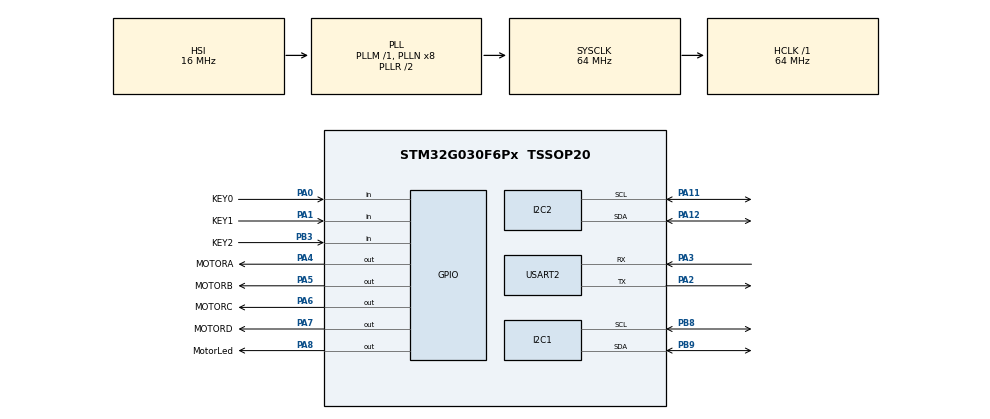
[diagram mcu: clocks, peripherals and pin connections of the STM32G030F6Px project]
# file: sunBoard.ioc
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Dma.Request0=USART2_TX
Dma.Request1=USART2_RX
Dma.USART2_RX.1.Direction=DMA_PERIPH_TO_MEMORY
Dma.USART2_RX.1.EventEnable=DISABLE
Dma.USART2_RX.1.Instance=DMA1_Channel2
Dma.USART2_RX.1.MemDataAlignment=DMA_MDATAALIGN_BYTE
Dma.USART2_RX.1.MemInc=DMA_MINC_ENABLE
Dma.USART2_RX.1.Mode=DMA_NORMAL
Dma.USART2_RX.1.PeriphDataAlignment=DMA_PDATAALIGN_BYTE
Dma.USART2_RX.1.PeriphInc=DMA_PINC_DISABLE
Dma.USART2_RX.1.Polarity=HAL_DMAMUX_REQ_GEN_RISING
Dma.USART2_RX.1.Priority=DMA_PRIORITY_MEDIUM
Dma.USART2_RX.1.RequestNumber=1
Dma.USART2_RX.1.SignalID=NONE
Dma.USART2_RX.1.SyncEnable=DISABLE
Dma.USART2_RX.1.SyncPolarity=HAL_DMAMUX_SYNC_NO_EVENT
Dma.USART2_RX.1.SyncRequestNumber=1
Dma.USART2_RX.1.SyncSignalID=NONE
Dma.USART2_TX.0.Direction=DMA_MEMORY_TO_PERIPH
Dma.USART2_TX.0.EventEnable=DISABLE
Dma.USART2_TX.0.Instance=DMA1_Channel1
Dma.USART2_TX.0.MemDataAlignment=DMA_MDATAALIGN_BYTE
Dma.USART2_TX.0.MemInc=DMA_MINC_ENABLE
Dma.USART2_TX.0.Mode=DMA_NORMAL
Dma.USART2_TX.0.PeriphDataAlignment=DMA_PDATAALIGN_BYTE
Dma.USART2_TX.0.PeriphInc=DMA_PINC_DISABLE
Dma.USART2_TX.0.Polarity=HAL_DMAMUX_REQ_GEN_RISING
Dma.USART2_TX.0.Priority=DMA_PRIORITY_MEDIUM
Dma.USART2_TX.0.RequestNumber=1
Dma.USART2_TX.0.SignalID=NONE
Dma.USART2_TX.0.SyncEnable=DISABLE
Dma.USART2_TX.0.SyncPolarity=HAL_DMAMUX_SYNC_NO_EVENT
Dma.USART2_TX.0.SyncRequestNumber=1
Dma.USART2_TX.0.SyncSignalID=NONE
I2C1.Timing=0x10B17DB5
I2C2.Timing=0x10B17DB5
Mcu.Family=STM32G0
Mcu.Name=STM32G030F6Px
Mcu.Package=TSSOP20
NVIC.DMA1_Channel1_IRQn=true\:0\:0\:false\:false\:true\:false\:true\:true
NVIC.DMA1_Channel2_3_IRQn=true\:0\:0\:false\:false\:true\:false\:true\:true
NVIC.TIM14_IRQn=true\:0\:0\:false\:false\:true\:true\:true\:true
NVIC.TIM16_IRQn=true\:0\:0\:false\:false\:true\:true\:true\:true
NVIC.TIM17_IRQn=true\:0\:0\:false\:false\:true\:true\:true\:true
NVIC.TIM1_BRK_UP_TRG_COM_IRQn=true\:0\:0\:true\:false\:true\:true\:true\:true
NVIC.TIM3_IRQn=true\:1\:0\:true\:false\:true\:true\:true\:true
PA0.GPIO_Label=KEY0
PA0.GPIO_PuPd=GPIO_PULLUP
PA0.Signal=GPIO_Input
PA1.GPIO_Label=KEY1
PA1.GPIO_PuPd=GPIO_PULLUP
PA1.Signal=GPIO_Input
PA11\ [PA9].Mode=I2C
PA11\ [PA9].Signal=I2C2_SCL
PA12\ [PA10].Mode=I2C
PA12\ [PA10].Signal=I2C2_SDA
PA13.Mode=Serial_Wire
PA13.Signal=SYS_SWDIO
PA14-BOOT0.Mode=Serial_Wire
PA14-BOOT0.Signal=SYS_SWCLK
PA14-BOOT0__PA15.StandardMode=true
PA2.Mode=Asynchronous
PA2.Signal=USART2_TX
PA3.Mode=Asynchronous
PA3.Signal=USART2_RX
PA4.GPIO_Label=MOTORA
PA4.GPIO_PuPd=GPIO_PULLUP
PA4.PinState=GPIO_PIN_RESET
PA4.Signal=GPIO_Output
PA5.GPIO_Label=MOTORB
PA5.GPIO_PuPd=GPIO_PULLUP
PA5.Signal=GPIO_Output
PA6.GPIO_Label=MOTORC
PA6.GPIO_PuPd=GPIO_PULLUP
PA6.Signal=GPIO_Output
PA7.GPIO_Label=MOTORD
PA7.GPIO_PuPd=GPIO_PULLUP
PA7.Signal=GPIO_Output
PA8.GPIO_Label=MotorLed
PA8.GPIO_ModeDefaultOutputPP=GPIO_MODE_OUTPUT_PP
PA8.GPIO_PuPd=GPIO_PULLUP
PA8.PinState=GPIO_PIN_RESET
PA8.Signal=GPIO_Output
PB0__PB1__PB2__PA8.StandardMode=true
PB3.GPIO_Label=KEY2
PB3.GPIO_PuPd=GPIO_PULLUP
PB3.Signal=GPIO_Input
PB3__PB4__PB5__PB6.StandardMode=true
PB7__PB8.StandardMode=true
PB8.Mode=I2C
PB8.Signal=I2C1_SCL
PB9.Mode=I2C
PB9.Signal=I2C1_SDA
PC14-OSC32_IN\ (PC14)__PB9.StandardMode=true
ProjectManager.HeapSize=0x200
ProjectManager.StackSize=0x400
ProjectManager.TargetToolchain=CMake
RCC.ADCFreq_Value=64000000
RCC.AHBFreq_Value=64000000
RCC.CortexFreq_Value=64000000
RCC.EXTERNAL_CLOCK_VALUE=12288000
RCC.HCLKFreq_Value=64000000
RCC.HSE_VALUE=8000000
RCC.HSI_VALUE=16000000
RCC.LSE_VALUE=32768
RCC.SYSCLKFreq_VALUE=64000000
RCC.SYSCLKSource=RCC_SYSCLKSOURCE_PLLCLK
RCC.VCOOutputFreq_Value=128000000
TIM1.AutoReloadPreload=TIM_AUTORELOAD_PRELOAD_ENABLE
TIM1.Period=29999
TIM1.Prescaler=63999
TIM14.Period=2999
TIM14.Prescaler=63999
TIM16.Period=2999
TIM16.Prescaler=6399
TIM17.Period=1999
TIM17.Prescaler=639
TIM3.AutoReloadPreload=TIM_AUTORELOAD_PRELOAD_ENABLE
TIM3.Period=999
TIM3.Prescaler=639
USART2.VirtualMode-Asynchronous=VM_ASYNC
VP_TIM14_VS_ClockSourceINT.Mode=Enable_Timer
VP_TIM16_VS_ClockSourceINT.Mode=Enable_Timer
VP_TIM17_VS_ClockSourceINT.Mode=Enable_Timer
VP_TIM1_VS_ClockSourceINT.Mode=Internal
VP_TIM3_VS_ClockSourceINT.Mode=Internal
board=custom

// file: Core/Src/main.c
/* USER CODE BEGIN Header */
/**
 ******************************************************************************
 * @file           : main.c
 * @brief          : Main program body
 ******************************************************************************
 * @attention
 *
 * Copyright (c) 2024 STMicroelectronics.
 * All rights reserved.
 *
 * This software is licensed under terms that can be found in the LICENSE file
 * in the root directory of this software component.
 * If no LICENSE file comes with this software, it is provided AS-IS.
 *
 ******************************************************************************
 */
/* USER CODE END Header */
#include "main.h"
#include "dma.h"
#include "i2c.h"
#include "tim.h"
#include "usart.h"
#include "gpio.h"

/* USER CODE BEGIN Includes */
#include "TM1650.h"
#include "PCF8563.h"
#include "key.h"
#include "myFlash.h"
/* USER CODE END Includes */

/* USER CODE BEGIN PM */
#define ANGLE_PER_HOUR 10
/* USER CODE END PM */

/* USER CODE BEGIN PV */
userkey *key0 = NULL;
userkey *key1 = NULL;
userkey *key2 = NULL;
tm1650 *TM1650 = NULL;
PCF8563_Controller *Pcf8563_ctrl = NULL;
Motor_Controller *Motor_Ctrl = NULL;

extern MyUart myuart;

/* USER CODE END PV */

void SystemClock_Config(void);

int main(void)
{

  /* MCU Configuration--------------------------------------------------------*/

  /* Reset of all peripherals, Initializes the Flash interface and the Systick. */
  HAL_Init();

  /* Configure the system clock */
  SystemClock_Config();

  /* Initialize all configured peripherals */
  MX_GPIO_Init();
  MX_DMA_Init();
  MX_I2C1_Init();
  MX_I2C2_Init();
  MX_USART2_UART_Init();
  MX_TIM1_Init();
  MX_TIM3_Init();
  MX_TIM14_Init();
  MX_TIM16_Init();
  MX_TIM17_Init();
  /* USER CODE BEGIN 2 */
  MyUart_init(&myuart);
  key0 = newKey(0);
  key1 = newKey(1);
  key2 = newKey(2);

  TM1650 = newTM1650(TM1650_BRIGHT2);
  Pcf8563_ctrl = newPCF8563();
  Motor_Ctrl = newMotorCtrl();

  /* USER CODE END 2 */

  /* Infinite loop */
  while (1)
  {

    /* USER CODE BEGIN 3 */

    // 主线程，刷新数码显示时间（20s）
    if (Pcf8563_ctrl->timeFlash == TIME_OK)
    {
      Pcf8563_ctrl->timeFlash = TIME_WAIT;
      HAL_StatusTypeDef status = Pcf8563_ctrl->time_updata(Pcf8563_ctrl);
      if (HAL_OK == status)
      {
        TM1650->TM1650_show_time(TM1650, Pcf8563_ctrl->data_time->Hour, Pcf8563_ctrl->data_time->Min);
      }

      /*输出一些状态信息*/
      /*       char buffer[MAX_DATA_LENGTH] = {0};
            sprintf(buffer,
                    "time is : %d : %d \r\n",
                    Pcf8563_ctrl.data_time->Hour,
                    Pcf8563_ctrl.data_time->Min);
            myuart.uart_send(&myuart, buffer); */
    }

    // 主线程，随时间旋转电机
    if (Pcf8563_ctrl->timehourFlash == HOUR_UPDATA)
    {
      Pcf8563_ctrl->timehourFlash = HOUR_IDEAL;
      if (Pcf8563_ctrl->data_time->Hour < 18 && Pcf8563_ctrl->data_time->Hour > 9) // 白天转动
      {
        Motor_Ctrl->motor_right_correct(Motor_Ctrl, ANGLE_PER_HOUR);
      }
      else if (Pcf8563_ctrl->data_time->Hour == 18) // 18：00复位
      {
        Motor_Ctrl->motor_reset(Motor_Ctrl);
      }
    }

    // 主线程，响应按键动作
    key0->response(key0);
    key1->response(key1);
    key2->response(key2);
  }

  deletePCF8563(Pcf8563_ctrl);
  delete_MotorCtrl(Motor_Ctrl);
  deleteTM1650(TM1650);
  /* USER CODE END 3 */
}

void SystemClock_Config(void)
{
  RCC_OscInitTypeDef RCC_OscInitStruct = {0};
  RCC_ClkInitTypeDef RCC_ClkInitStruct = {0};

  /** Configure the main internal regulator output voltage
   */
  HAL_PWREx_ControlVoltageScaling(PWR_REGULATOR_VOLTAGE_SCALE1);

  /** Initializes the RCC Oscillators according to the specified parameters
   * in the RCC_OscInitTypeDef structure.
   */
  RCC_OscInitStruct.OscillatorType = RCC_OSCILLATORTYPE_HSI;
  RCC_OscInitStruct.HSIState = RCC_HSI_ON;
  RCC_OscInitStruct.HSIDiv = RCC_HSI_DIV1;
  RCC_OscInitStruct.HSICalibrationValue = RCC_HSICALIBRATION_DEFAULT;
  RCC_OscInitStruct.PLL.PLLState = RCC_PLL_ON;
  RCC_OscInitStruct.PLL.PLLSource = RCC_PLLSOURCE_HSI;
  RCC_OscInitStruct.PLL.PLLM = RCC_PLLM_DIV1;
  RCC_OscInitStruct.PLL.PLLN = 8;
  RCC_OscInitStruct.PLL.PLLP = RCC_PLLP_DIV2;
  RCC_OscInitStruct.PLL.PLLR = RCC_PLLR_DIV2;
  if (HAL_RCC_OscConfig(&RCC_OscInitStruct) != HAL_OK)
  {
    Error_Handler();
  }

  /** Initializes the CPU, AHB and APB buses clocks
   */
  RCC_ClkInitStruct.ClockType = RCC_CLOCKTYPE_HCLK | RCC_CLOCKTYPE_SYSCLK | RCC_CLOCKTYPE_PCLK1;
  RCC_ClkInitStruct.SYSCLKSource = RCC_SYSCLKSOURCE_PLLCLK;
  RCC_ClkInitStruct.AHBCLKDivider = RCC_SYSCLK_DIV1;
  RCC_ClkInitStruct.APB1CLKDivider = RCC_HCLK_DIV1;

  if (HAL_RCC_ClockConfig(&RCC_ClkInitStruct, FLASH_LATENCY_2) != HAL_OK)
  {
    Error_Handler();
  }
}

void Error_Handler(void)
{
  __disable_irq();
  while (1)
  {
  }
}
